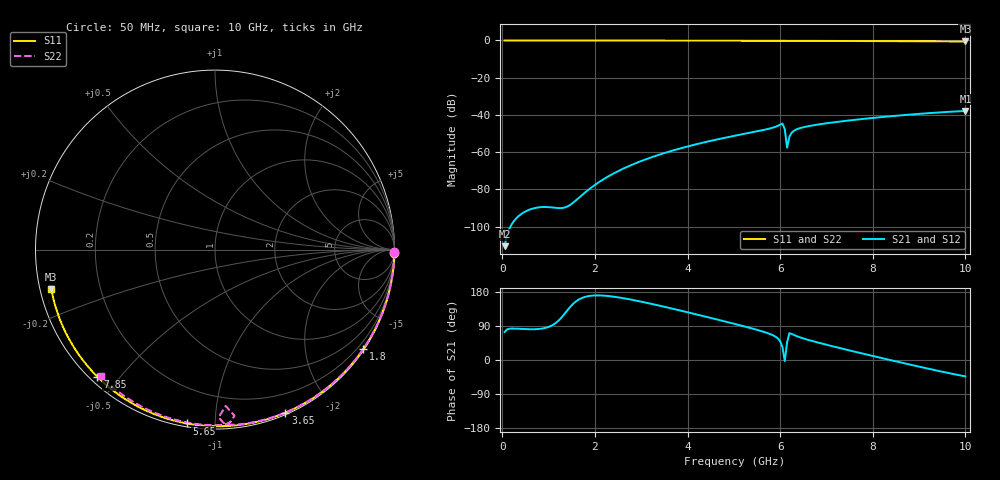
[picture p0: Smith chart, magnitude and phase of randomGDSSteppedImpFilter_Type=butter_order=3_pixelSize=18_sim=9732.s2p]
! freq	dB(S11)	phase(S11)	dB(S12)	phase(S12)
!  dB(S21)	phase(S21)	dB(S22)	phase(S22)
!S-par simulation data
#  GHz  S  DB  R 50
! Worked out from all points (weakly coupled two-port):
!   200 points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, 50 MHz to 10 GHz, reference 50 ohm
!   highest |S21| = -37.92 dB at 10 GHz (marker M1); lowest = -110.5 dB at 50 MHz (marker M2)
!   lowest |S11| = -0.6 dB at 10 GHz (marker M3), VSWR 31.10, Z = 1.63 - j5.92 ohm
!   |S11| at or under -10 dB: nowhere
!   |S22| runs from -1.2 to 0.0 dB; largest |S21 - S12| = 0
!   S11 on the Smith chart (normalised r, x): 50 MHz: open; 1.8 GHz: 0.03, -3.29; 3.65 GHz: 0.02, -1.52; 5.65 GHz: 0.02, -0.85; 7.85 GHz: 0.02, -0.44; 10 GHz: 0.03, -0.12
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0.05  -0.00 -1.0  -110.54 73.9  -110.54 73.9  -0.00 -0.8
0.85  -0.02 -16.2  -89.53 82.8  -89.53 82.8  -0.02 -12.9
1.75  -0.04 -32.9  -82.49 165.1  -82.49 165.1  -0.03 -26.3
1.8  -0.04 -33.9  -81.45 167.0  -81.45 167.0  -0.03 -27.1
1.9  -0.05 -35.7  -79.46 169.4  -79.46 169.4  -0.04 -28.5
2.2  -0.05 -41.2  -74.34 169.8  -74.34 169.8  -0.04 -32.9
2.6  -0.06 -48.3  -69.02 163.4  -69.02 163.4  -0.05 -38.7
3.4  -0.08 -62.4  -61.29 143.2  -61.29 143.2  -0.07 -50.1
3.65  -0.09 -66.7  -59.37 136.2  -59.37 136.2  -0.07 -53.6
5.05  -0.14 -89.8  -51.05 94.2  -51.05 94.2  -0.11 -72.7
5.65  -0.16 -99.3  -48.05 74.1  -48.05 74.1  -0.14 -80.9
5.95  -0.18 -104.0  -45.88 57.0  -45.88 57.0  -0.22 -85.9
6.05  -0.18 -105.5  -44.64 33.7  -44.64 33.7  -0.58 -88.8
6.1  -0.19 -106.3  -47.68 -2.9  -47.68 -2.9  -1.18 -86.1
6.15  -0.19 -107.0  -57.66 47.0  -57.66 47.0  -0.61 -83.3
6.2  -0.19 -107.8  -51.66 70.8  -51.66 70.8  -0.33 -84.7
6.25  -0.20 -108.6  -49.52 68.7  -49.52 68.7  -0.25 -86.0
6.4  -0.21 -110.9  -47.34 61.0  -47.34 61.0  -0.19 -88.7
6.7  -0.22 -115.4  -45.65 49.9  -45.65 49.9  -0.19 -92.9
7.85  -0.31 -132.7  -42.01 15.0  -42.01 15.0  -0.25 -107.1
8.35  -0.36 -140.3  -40.80 0.6  -40.80 0.6  -0.29 -113.0
10  -0.56 -166.5  -37.92 -43.2  -37.92 -43.2  -0.45 -132.1
